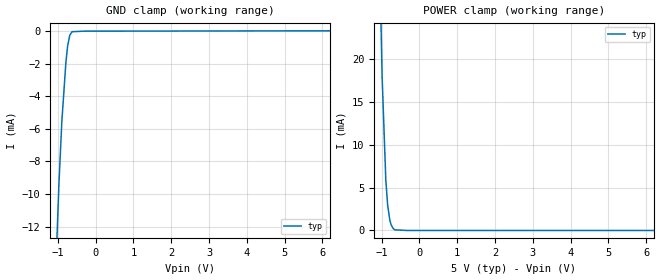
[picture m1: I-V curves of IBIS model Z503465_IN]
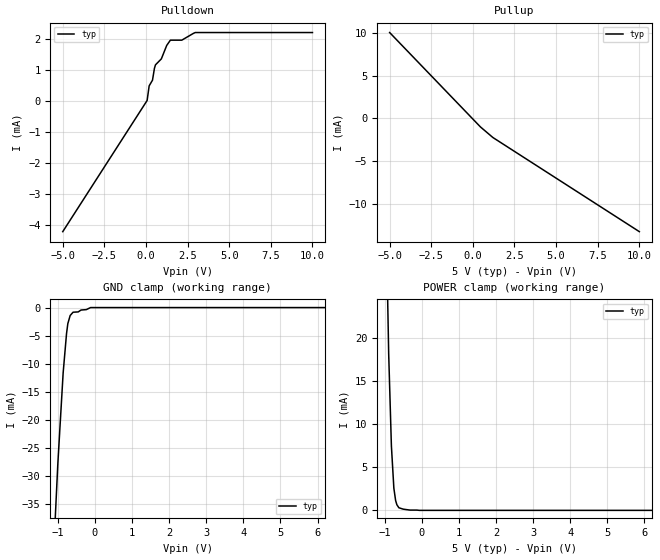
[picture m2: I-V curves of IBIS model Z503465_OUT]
| YOU ARE ONLY AUTHORIZED TO USE THIS SOFTWARE
| ACCORDING TO LICENSOR'S LICENSE RESTRICTIONS.
[IBIS Ver] 3.1
[File Name] mc14011bcp.ibs
[File Rev] 2.0
[Source] Measured and created by ICX Technology
[Date] Friday 7/14/00 9:07:51 AM
[Copyright]
| (C) COPYRIGHT 1993-2000
| MENTOR GRAPHICS CORPORATION
| ICX STANDARD LIBRARY, ICX PROJECT MODELING,
| ICX CUSTOM MODELING, ICX VENDOR MODEL
| ALL RIGHTS RESERVED.
| THE FOLLOWING ARE TRADEMARKS OR SERVICE MARKS OF
| MENTOR GRAPHICS CORPORATION:ICX (R), ICX STANDARD
| LIBRARY(R), ICX PROJECT MODELING(R), ICX CUSTOM
| MODELING(R), qualityIBIS(TM), MODELVIEWER(TM),
| AND MODELEDITOR(TM)
| ALL COPIES OF SOFTWARE, INCLUDING BUT NOT LIMITED TO
| ANY MODIFICATIONS, ENHANCEMENTS OR DERIVATIVE WORKS,
| MUST CONTAIN ALL MENTOR GRAPHICS CORPORATION'S
| NOTICES AND LEGENDS, INCLUDING THOSE EMBEDDED IN
| SOFTWARE AND THOSE AFFIXED TO SOFTWARE MEDIUM
| AND CONTAINER, AS RECEIVED FROM MENTOR GRAPHICS
| CORPORATION.
|  ZAP Model Builder 2.7
[Component] MC14011BCP
[Manufacturer] OnSemiconductor
[Package]
| variable   typ   min   max
R_pkg  .21ohms NA NA
L_pkg  4.543nH NA NA
C_pkg  1.059pF NA NA
[Pin] signal_name  model_name  R_pin  L_pin C_pin
1 IN1A Z503465_IN .22 6.757n 1.432p
2 IN2A Z503465_IN .212 4.757n 1.142p
3 OUTA Z503465_OUT .204 3.257n .852p
4 OUTB Z503465_OUT .196 2.257n .562p
5 IN1B Z503465_IN .204 3.257n .852p
6 IN2B Z503465_IN .212 4.757n 1.142p
7 VSS POWER .22 6.757n 1.432p
8 IN1C Z503465_IN .22 6.757n 1.432p
9 IN2C Z503465_IN .212 4.757n 1.142p
10 OUTC Z503465_OUT .204 3.257n .852p
11 OUTD Z503465_OUT .196 2.257n .562p
12 IN1D Z503465_IN .204 3.257n .852p
13 IN2D Z503465_IN .212 4.757n 1.142p
14 VDD POWER .22 6.757n 1.432p
| Models and submodels in the file (2): Z503465_IN (Input), Z503465_OUT (Output)
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| (C) COPYRIGHT 1993-2000
| MENTOR GRAPHICS CORPORATION
| ICX STANDARD LIBRARY, ICX PROJECT MODELING,
| ICX CUSTOM MODELING, ICX VENDOR MODEL
| ALL RIGHTS RESERVED.
| THE FOLLOWING ARE TRADEMARKS OR SERVICE MARKS OF
| MENTOR GRAPHICS CORPORATION:ICX (R), ICX STANDARD
| LIBRARY(R), ICX PROJECT MODELING(R), ICX CUSTOM
| MODELING(R), qualityIBIS(TM), MODELVIEWER(TM),
| AND MODELEDITOR(TM)
| ALL COPIES OF SOFTWARE, INCLUDING BUT NOT LIMITED TO
| ANY MODIFICATIONS, ENHANCEMENTS OR DERIVATIVE WORKS,
| MUST CONTAIN ALL MENTOR GRAPHICS CORPORATION'S
| NOTICES AND LEGENDS, INCLUDING THOSE EMBEDDED IN
| SOFTWARE AND THOSE AFFIXED TO SOFTWARE MEDIUM
| AND CONTAINER, AS RECEIVED FROM MENTOR GRAPHICS
| CORPORATION.
| Model Application Version 1.89 2/18/99.
[Model] Z503465_IN
Model_type Input
Vinl = 1.500V
Vinh = 3.500V
C_comp 4.000pF NA NA
| variable typ   min   max
[Voltage Range] 5.000V NA NA
[GND Clamp Reference] 0.000V NA NA
[POWER Clamp Reference] 5.000V NA NA
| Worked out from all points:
|   GND clamp passes 1 mA (typ) near -0.74 V on its own axis
|   POWER clamp passes 1 mA (typ) near -0.77 V on its own axis
[GND Clamp]
-5V       -511.2mA   NA         NA
-1.245V   -31.79mA   NA         NA
-1.147V   -21.8mA    NA         NA
-1.069V   -15.61mA   NA         NA
-971.5mV  -9.415mA   NA         NA
-893.3mV  -5.517mA   NA         NA
-787.3mV  -1.946mA   NA         NA
-741.4mV  -924.3uA   NA         NA
-683.6mV  -260.5uA   NA         NA
-625.2mV  -44.85uA   NA         NA
-312.6mV  -13.13uA   NA         NA
10V       25.07uA    NA         NA
[POWER Clamp]
-5V       1.151A     NA         NA
-1.113V   44.89mA    NA         NA
-986mV    17.97mA    NA         NA
-888mV    5.881mA    NA         NA
-840mV    2.969mA    NA         NA
-780mV    1.143mA    NA         NA
-742mV    608.4uA    NA         NA
-688mV    200.5uA    NA         NA
-649mV    75.03uA    NA         NA
-324.5mV  0A         NA         NA
10V       0A         NA         NA
| (C) COPYRIGHT 1993-2000
| MENTOR GRAPHICS CORPORATION
| ICX STANDARD LIBRARY, ICX PROJECT MODELING,
| ICX CUSTOM MODELING, ICX VENDOR MODEL
| ALL RIGHTS RESERVED.
| THE FOLLOWING ARE TRADEMARKS OR SERVICE MARKS OF
| MENTOR GRAPHICS CORPORATION:ICX (R), ICX STANDARD
| LIBRARY(R), ICX PROJECT MODELING(R), ICX CUSTOM
| MODELING(R), qualityIBIS(TM), MODELVIEWER(TM),
| AND MODELEDITOR(TM)
| ALL COPIES OF SOFTWARE, INCLUDING BUT NOT LIMITED TO
| ANY MODIFICATIONS, ENHANCEMENTS OR DERIVATIVE WORKS,
| MUST CONTAIN ALL MENTOR GRAPHICS CORPORATION'S
| NOTICES AND LEGENDS, INCLUDING THOSE EMBEDDED IN
| SOFTWARE AND THOSE AFFIXED TO SOFTWARE MEDIUM
| AND CONTAINER, AS RECEIVED FROM MENTOR GRAPHICS
| CORPORATION.
| Model Application Version 1.89 2/18/99.
[Model] Z503465_OUT
Model_type Output
Vref=0.000V
Rref=500.0Mohms
Cref=50.00pF
Vmeas=2.500V
C_comp 8.000pF NA NA
| variable typ   min   max
[Voltage Range] 5.000V NA NA
[POWER Clamp Reference] 5.000V NA NA
[Pullup Reference] 5.000V NA NA
[Pulldown Reference] 0.000V NA NA
[GND Clamp Reference] 0.000V NA NA
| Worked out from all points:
|   slope of the pulldown table from 0 to 0.75 V, typ, clamps not added: 575 ohm
|   slope of the pullup table from 0 to 0.75 V, typ, clamps not added: 531 ohm
|   GND clamp passes 1 mA (typ) near -0.61 V on its own axis
|   POWER clamp passes 1 mA (typ) near -0.69 V on its own axis
[GND Clamp]
-5V       -581.6mA   NA         NA
-996.1mV  -27.73mA   NA         NA
-853.3mV  -11.62mA   NA         NA
-762.4mV  -4.644mA   NA         NA
-726.9mV  -2.845mA   NA         NA
-664.1mV  -1.412mA   NA         NA
-586.1mV  -825.6uA   NA         NA
-447.9mV  -771.9uA   NA         NA
-370.5mV  -437.5uA   NA         NA
-228.8mV  -363.7uA   NA         NA
-114.4mV  0A         NA         NA
10V       0A         NA         NA
[Pulldown]
-5V       -4.22mA    NA         NA
68.36mV   8.553uA    NA         NA
190.4mV   479.3uA    NA         NA
390.5mV   662.3uA    NA         NA
506.8mV   1.043mA    NA         NA
568.8mV   1.156mA    NA         NA
922.9mV   1.349mA    NA         NA
1.245V    1.783mA    NA         NA
1.465V    1.952mA    NA         NA
2.15V     1.952mA    NA         NA
2.959V    2.198mA    NA         NA
10V       2.198mA    NA         NA
[Pullup]
-5V       10.06mA    NA         NA
455mV     -990.4uA   NA         NA
1.201V    -2.228mA   NA         NA
10V       -13.25mA   NA         NA
[POWER Clamp]
-5V       959.5mA    NA         NA
-889mV    18.15mA    NA         NA
-816mV    7.49mA     NA         NA
-750mV    2.584mA    NA         NA
-703mV    1.156mA    NA         NA
-669mV    658.2uA    NA         NA
-615mV    304.5uA    NA         NA
-498mV    139.5uA    NA         NA
-312.5mV  30.58uA    NA         NA
-127mV    30.58uA    NA         NA
-63.5mV   0A         NA         NA
10V       0A         NA         NA
[Ramp]
| variable typ min max
dV/dt_r 2.462/18.25n NA NA
dV/dt_f 2.462/13.99n NA NA
R_load = 2.500kOhms
